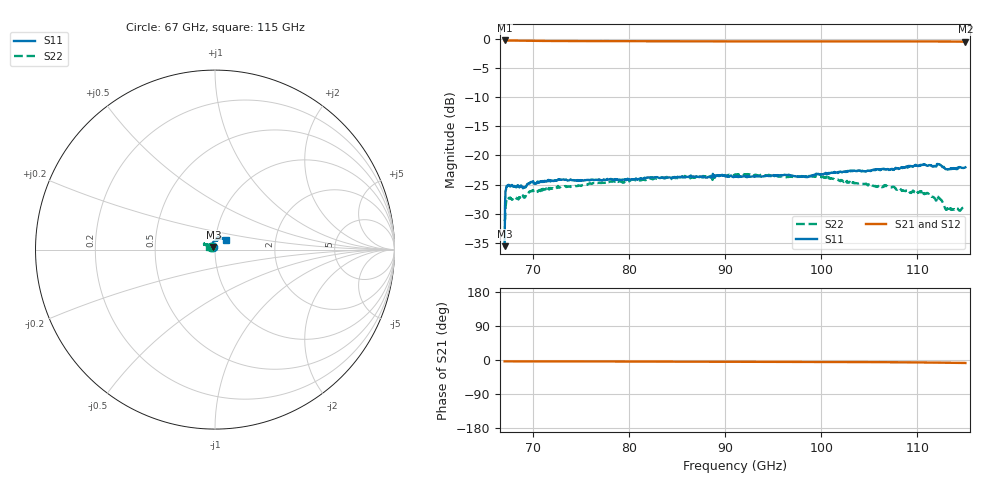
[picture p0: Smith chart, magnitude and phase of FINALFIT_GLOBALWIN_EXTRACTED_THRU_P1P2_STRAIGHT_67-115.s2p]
! Generated by Phase I extraction
# Hz S RI R 50
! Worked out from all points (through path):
!   1001 points, 67 GHz to 115 GHz, reference 50 ohm
!   highest |S21| = -0.32 dB at 67 GHz (marker M1); lowest = -0.5 dB at 115 GHz (marker M2)
!   group delay of S21, straight-line fit = 206 fs
!   lowest |S11| = -35.6 dB at 67 GHz (marker M3), VSWR 1.03, Z = 49.1 + j1.38 ohm
!   |S11| at or under -10 dB: start of sweep to end of sweep
!   |S22| runs from -31.3 to -23.1 dB; largest |S21 - S12| = 0.0075
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6.7e10  -0.00897 0.014  0.962 -0.0594  0.962 -0.0631  -0.0241 0.0128
6.7288e10  0.0114 0.053  0.9612 -0.0593  0.9613 -0.0633  -0.0367 0.0236
6.7432e10  0.0128 0.0544  0.9608 -0.0592  0.9609 -0.0634  -0.0364 0.0225
6.892e10  0.0114 0.0509  0.957 -0.0587  0.9571 -0.0643  -0.0394 0.0225
6.9784e10  0.0121 0.0579  0.9552 -0.0586  0.9553 -0.0647  -0.042 0.0258
7.0264e10  0.0118 0.056  0.9543 -0.0587  0.9544 -0.0649  -0.0413 0.0252
7.2856e10  0.011 0.0607  0.9509 -0.0598  0.9512 -0.0663  -0.0463 0.028
7.5016e10  0.0143 0.0596  0.9495 -0.0615  0.9501 -0.0677  -0.0467 0.0287
7.8136e10  0.013 0.0611  0.9483 -0.0641  0.9491 -0.0702  -0.0519 0.0291
8.3032e10  0.0146 0.0627  0.9463 -0.0688  0.9471 -0.0744  -0.055 0.0302
8.812e10  0.0158 0.0626  0.9439 -0.0739  0.9446 -0.0797  -0.0582 0.03
8.9464e10  0.0158 0.0656  0.9434 -0.0753  0.9442 -0.0811  -0.0598 0.0285
9.1e10  0.0169 0.0642  0.9431 -0.0769  0.9439 -0.0826  -0.061 0.0301
9.9016e10  0.0249 0.0626  0.9419 -0.0844  0.9423 -0.0898  -0.0583 0.0303
1.02952e11  0.033 0.0656  0.9419 -0.0884  0.9423 -0.0932  -0.053 0.0266
1.07032e11  0.0437 0.0608  0.9412 -0.0955  0.9414 -0.1003  -0.0465 0.0268
1.11112e11  0.0528 0.062  0.9394 -0.1114  0.9388 -0.1185  -0.0429 0.0198
1.11784e11  0.0542 0.0603  0.9389 -0.1141  0.9381 -0.1214  -0.0392 0.0175
1.12312e11  0.0585 0.06  0.9383 -0.1158  0.9374 -0.1231  -0.0378 0.0195
1.12888e11  0.0553 0.0531  0.9374 -0.1176  0.9366 -0.1249  -0.0318 0.0148
1.13128e11  0.0551 0.0524  0.9369 -0.1184  0.9361 -0.1257  -0.0319 0.0145
1.15e11  0.0589 0.0525  0.9316 -0.1288  0.9306 -0.1362  -0.0311 0.0159
